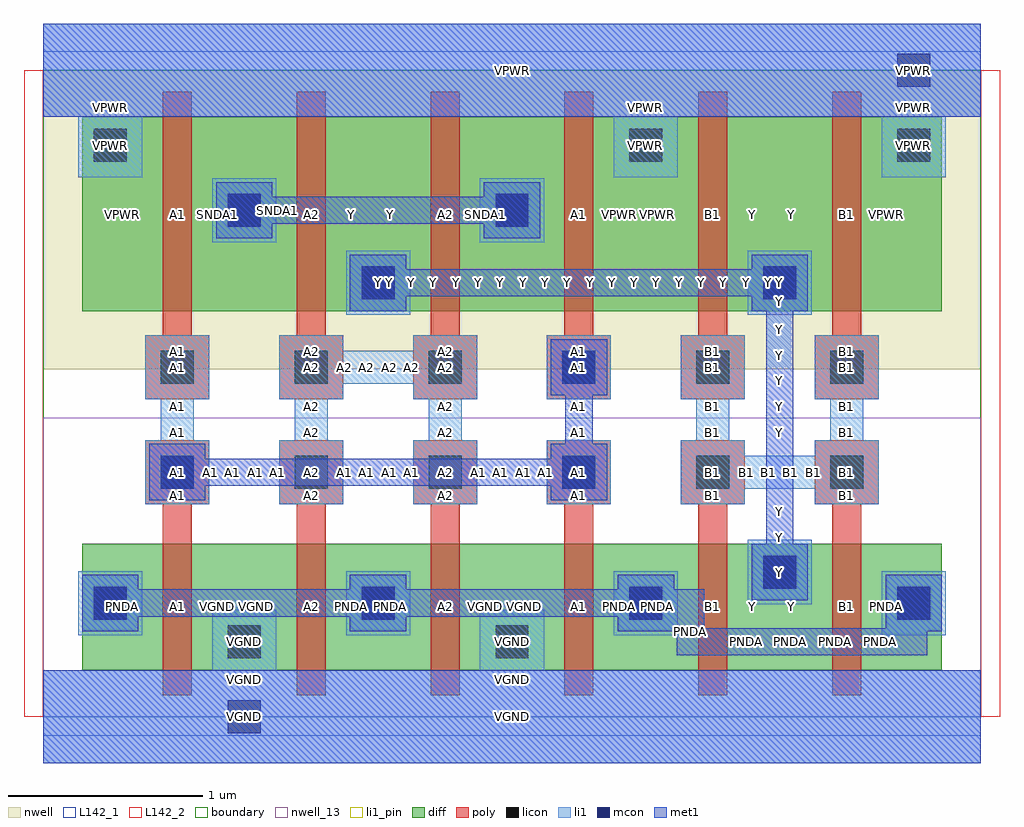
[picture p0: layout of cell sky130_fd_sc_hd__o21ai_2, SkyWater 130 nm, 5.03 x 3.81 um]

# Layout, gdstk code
import gdstk
lib = gdstk.Library(unit=1e-6, precision=1e-09)
def R(c, l, rs):  # rectangles x0, y0, x1, y1
    for r in rs: c.add(gdstk.rectangle(r[:2], r[2:], *l))
def A(c, l, x, y, w, h, nx, ny, dx, dy):  # array of equal rectangles
    R(c, l, [(x+i*dx, y+j*dy, x+i*dx+w, y+j*dy+h) for i in range(nx) for j in range(ny)])
def P(c, l, *ps):  # polygons
    for p in ps: c.add(gdstk.Polygon(p, *l))
nwell_13 = (64, 13)
nwell = (64, 20)
diff = (65, 20)
poly = (66, 20)
licon = (66, 44)
li1_pin = (67, 16)
li1 = (67, 20)
mcon = (67, 44)
met1 = (68, 20)
L142_1 = (142, 1)
L142_2 = (142, 2)
boundary = (235, 4)

sky130_fd_sc_hd__o21ai_2 = lib.new_cell('sky130_fd_sc_hd__o21ai_2')
R(sky130_fd_sc_hd__o21ai_2, nwell_13, [(0,0,4.83,1.54)])
R(sky130_fd_sc_hd__o21ai_2, nwell, [(0,1.79,4.83,3.33)])
A(sky130_fd_sc_hd__o21ai_2, diff, 0.615, 0.24, 0.69, 0.65, 5, 1, 0.69, 0)
A(sky130_fd_sc_hd__o21ai_2, diff, 0.615, 2.09, 0.69, 1, 5, 1, 0.69, 0)
R(sky130_fd_sc_hd__o21ai_2, diff, [(0.2,0.24,4.63,0.89), (0.2,0.24,0.615,0.89), (4.065,0.24,4.63,0.89), (0.2,2.09,4.63,3.09), (0.2,2.09,0.615,3.09), (4.065,2.09,4.63,3.09)])
P(sky130_fd_sc_hd__o21ai_2, poly, [(1.305,0.11),(1.305,1.095),(1.215,1.095),(1.215,1.425),(1.545,1.425),(1.545,1.095),(1.455,1.095),(1.455,0.11)],
  [(1.995,0.11),(1.995,1.095),(1.905,1.095),(1.905,1.425),(2.235,1.425),(2.235,1.095),(2.145,1.095),(2.145,0.11)],
  [(1.215,1.635),(1.215,1.965),(1.305,1.965),(1.305,3.22),(1.455,3.22),(1.455,1.965),(1.545,1.965),(1.545,1.635)],
  [(1.905,1.635),(1.905,1.965),(1.995,1.965),(1.995,3.22),(2.145,3.22),(2.145,1.965),(2.235,1.965),(2.235,1.635)],
  [(0.615,0.11),(0.615,1.095),(0.525,1.095),(0.525,1.425),(0.855,1.425),(0.855,1.095),(0.765,1.095),(0.765,0.11)],
  [(2.685,0.11),(2.685,1.095),(2.595,1.095),(2.595,1.425),(2.925,1.425),(2.925,1.095),(2.835,1.095),(2.835,0.11)],
  [(0.525,1.635),(0.525,1.965),(0.615,1.965),(0.615,3.22),(0.765,3.22),(0.765,1.965),(0.855,1.965),(0.855,1.635)],
  [(2.595,1.635),(2.595,1.965),(2.685,1.965),(2.685,3.22),(2.835,3.22),(2.835,1.965),(2.925,1.965),(2.925,1.635)],
  [(3.375,0.11),(3.375,1.095),(3.285,1.095),(3.285,1.425),(3.615,1.425),(3.615,1.095),(3.525,1.095),(3.525,0.11)],
  [(4.065,0.11),(4.065,1.095),(3.975,1.095),(3.975,1.425),(4.305,1.425),(4.305,1.095),(4.215,1.095),(4.215,0.11)],
  [(3.285,1.635),(3.285,1.965),(3.375,1.965),(3.375,3.22),(3.525,3.22),(3.525,1.965),(3.615,1.965),(3.615,1.635)],
  [(3.975,1.635),(3.975,1.965),(4.065,1.965),(4.065,3.22),(4.215,3.22),(4.215,1.965),(4.305,1.965),(4.305,1.635)])
A(sky130_fd_sc_hd__o21ai_2, licon, 0.26, 0.5, 0.17, 0.17, 4, 1, 1.38, 0)
A(sky130_fd_sc_hd__o21ai_2, licon, 0.605, 1.175, 0.17, 0.17, 6, 2, 0.69, 0.54)
R(sky130_fd_sc_hd__o21ai_2, licon, [(0.95,0.3,1.12,0.47), (2.33,0.3,2.5,0.47), (3.71,0.66,3.88,0.83), (1.64,2.15,1.81,2.32), (3.71,2.15,3.88,2.32), (0.95,2.525,1.12,2.695), (2.33,2.525,2.5,2.695), (0.26,2.86,0.43,3.03), (3.02,2.86,3.19,3.03), (4.4,2.86,4.57,3.03)])
R(sky130_fd_sc_hd__o21ai_2, li1_pin, [(0,-0.24,4.83,0.24), (1.56,2.07,1.89,2.4), (0,3.09,4.83,3.57)])
P(sky130_fd_sc_hd__o21ai_2, li1_pin, [(1.215,1.095),(1.215,1.425),(1.295,1.425),(1.295,1.635),(1.215,1.635),(1.215,1.965),(1.545,1.965),(1.545,1.885),(1.905,1.885),(1.905,1.965),(2.235,1.965),(2.235,1.635),(2.155,1.635),(2.155,1.425),(2.235,1.425),(2.235,1.095),(1.905,1.095),(1.905,1.425),(1.985,1.425),(1.985,1.635),(1.905,1.635),(1.905,1.715),(1.545,1.715),(1.545,1.635),(1.465,1.635),(1.465,1.425),(1.545,1.425),(1.545,1.095)],
  [(3.285,1.095),(3.285,1.425),(3.365,1.425),(3.365,1.635),(3.285,1.635),(3.285,1.965),(3.615,1.965),(3.615,1.635),(3.535,1.635),(3.535,1.425),(3.615,1.425),(3.615,1.345),(3.975,1.345),(3.975,1.425),(4.055,1.425),(4.055,1.635),(3.975,1.635),(3.975,1.965),(4.305,1.965),(4.305,1.635),(4.225,1.635),(4.225,1.425),(4.305,1.425),(4.305,1.095),(3.975,1.095),(3.975,1.175),(3.615,1.175),(3.615,1.095)],
  [(0.525,1.095),(0.525,1.425),(0.605,1.425),(0.605,1.635),(0.525,1.635),(0.525,1.965),(0.855,1.965),(0.855,1.635),(0.775,1.635),(0.775,1.425),(0.855,1.425),(0.855,1.095)])
A(sky130_fd_sc_hd__o21ai_2, li1, 0.18, 0.42, 0.33, 0.33, 4, 1, 1.38, 0)
R(sky130_fd_sc_hd__o21ai_2, li1, [(3.63,0.58,3.96,0.91), (2.595,1.095,2.925,1.425), (2.595,1.635,2.925,1.965), (1.56,2.07,1.89,2.4), (3.63,2.07,3.96,2.4), (0.87,2.445,1.2,2.775), (2.25,2.445,2.58,2.775)])
P(sky130_fd_sc_hd__o21ai_2, li1, [(1.215,1.095),(1.215,1.425),(1.295,1.425),(1.295,1.635),(1.215,1.635),(1.215,1.965),(1.545,1.965),(1.545,1.885),(1.905,1.885),(1.905,1.965),(2.235,1.965),(2.235,1.635),(2.155,1.635),(2.155,1.425),(2.235,1.425),(2.235,1.095),(1.905,1.095),(1.905,1.425),(1.985,1.425),(1.985,1.635),(1.905,1.635),(1.905,1.715),(1.545,1.715),(1.545,1.635),(1.465,1.635),(1.465,1.425),(1.545,1.425),(1.545,1.095)],
  [(0.18,2.78),(0.18,3.09),(0,3.09),(0,3.57),(4.83,3.57),(4.83,3.09),(4.65,3.09),(4.65,2.78),(4.32,2.78),(4.32,3.09),(3.27,3.09),(3.27,2.78),(2.94,2.78),(2.94,3.09),(0.51,3.09),(0.51,2.78)],
  [(0.525,1.095),(0.525,1.425),(0.605,1.425),(0.605,1.635),(0.525,1.635),(0.525,1.965),(0.855,1.965),(0.855,1.635),(0.775,1.635),(0.775,1.425),(0.855,1.425),(0.855,1.095)],
  [(0,-0.24),(0,0.24),(0.87,0.24),(0.87,0.55),(1.2,0.55),(1.2,0.24),(2.25,0.24),(2.25,0.55),(2.58,0.55),(2.58,0.24),(4.83,0.24),(4.83,-0.24)],
  [(3.285,1.095),(3.285,1.425),(3.365,1.425),(3.365,1.635),(3.285,1.635),(3.285,1.965),(3.615,1.965),(3.615,1.635),(3.535,1.635),(3.535,1.425),(3.615,1.425),(3.615,1.345),(3.975,1.345),(3.975,1.425),(4.055,1.425),(4.055,1.635),(3.975,1.635),(3.975,1.965),(4.305,1.965),(4.305,1.635),(4.225,1.635),(4.225,1.425),(4.305,1.425),(4.305,1.095),(3.975,1.095),(3.975,1.175),(3.615,1.175),(3.615,1.095)])
A(sky130_fd_sc_hd__o21ai_2, mcon, 0.26, 0.5, 0.17, 0.17, 4, 1, 1.38, 0)
R(sky130_fd_sc_hd__o21ai_2, mcon, [(0.95,-0.085,1.12,0.085), (3.71,0.66,3.88,0.83), (0.605,1.175,0.775,1.345), (2.675,1.175,2.845,1.345), (2.675,1.715,2.845,1.885), (1.64,2.15,1.81,2.32), (3.71,2.15,3.88,2.32), (0.95,2.525,1.12,2.695), (2.33,2.525,2.5,2.695), (4.4,3.245,4.57,3.415)])
R(sky130_fd_sc_hd__o21ai_2, met1, [(0,-0.24,4.83,0.24), (3.25,0.44,3.265,0.515), (0,3.09,4.83,3.57)])
P(sky130_fd_sc_hd__o21ai_2, met1, [(3.65,0.6),(3.65,0.89),(3.725,0.89),(3.725,2.09),(3.65,2.09),(3.65,2.165),(1.87,2.165),(1.87,2.09),(1.58,2.09),(1.58,2.38),(1.87,2.38),(1.87,2.305),(3.65,2.305),(3.65,2.38),(3.94,2.38),(3.94,2.09),(3.865,2.09),(3.865,0.89),(3.94,0.89),(3.94,0.6)],
  [(0.545,1.115),(0.545,1.405),(0.835,1.405),(0.835,1.33),(2.615,1.33),(2.615,1.405),(2.69,1.405),(2.69,1.655),(2.615,1.655),(2.615,1.945),(2.905,1.945),(2.905,1.655),(2.83,1.655),(2.83,1.405),(2.905,1.405),(2.905,1.115),(2.615,1.115),(2.615,1.19),(0.835,1.19),(0.835,1.115)],
  [(0.89,2.465),(0.89,2.755),(1.18,2.755),(1.18,2.68),(2.27,2.68),(2.27,2.755),(2.56,2.755),(2.56,2.465),(2.27,2.465),(2.27,2.54),(1.18,2.54),(1.18,2.465)],
  [(3.265,0.315),(3.265,0.515),(3.25,0.515),(3.25,0.44),(2.96,0.44),(2.96,0.515),(1.87,0.515),(1.87,0.44),(1.58,0.44),(1.58,0.515),(0.49,0.515),(0.49,0.44),(0.2,0.44),(0.2,0.73),(0.49,0.73),(0.49,0.655),(1.58,0.655),(1.58,0.73),(1.87,0.73),(1.87,0.655),(2.96,0.655),(2.96,0.73),(3.25,0.73),(3.25,0.655),(3.405,0.655),(3.405,0.455),(4.34,0.455),(4.34,0.73),(4.63,0.73),(4.63,0.44),(4.555,0.44),(4.555,0.315)])
R(sky130_fd_sc_hd__o21ai_2, L142_1, [(0,-0.1,4.83,0), (0,3.33,4.83,3.43)])
R(sky130_fd_sc_hd__o21ai_2, L142_2, [(-0.1,0,0,3.33), (4.83,0,4.93,3.33)])
R(sky130_fd_sc_hd__o21ai_2, boundary, [(0,0,4.83,3.33)])
sky130_fd_sc_hd__o21ai_2.add(gdstk.Label('VGND', (1.097,0.565), layer=65, texttype=20))
sky130_fd_sc_hd__o21ai_2.add(gdstk.Label('PNDA', (1.587,0.565), layer=65, texttype=20))
sky130_fd_sc_hd__o21ai_2.add(gdstk.Label('PNDA', (0.407,0.565), layer=65, texttype=20))
sky130_fd_sc_hd__o21ai_2.add(gdstk.Label('VGND', (0.897,0.565), layer=65, texttype=20))
sky130_fd_sc_hd__o21ai_2.add(gdstk.Label('PNDA', (1.787,0.565), layer=65, texttype=20))
sky130_fd_sc_hd__o21ai_2.add(gdstk.Label('VGND', (2.277,0.565), layer=65, texttype=20))
sky130_fd_sc_hd__o21ai_2.add(gdstk.Label('Y', (3.857,0.565), layer=65, texttype=20))
sky130_fd_sc_hd__o21ai_2.add(gdstk.Label('PNDA', (4.347,0.565), layer=65, texttype=20))
sky130_fd_sc_hd__o21ai_2.add(gdstk.Label('PNDA', (3.167,0.565), layer=65, texttype=20))
sky130_fd_sc_hd__o21ai_2.add(gdstk.Label('Y', (3.657,0.565), layer=65, texttype=20))
sky130_fd_sc_hd__o21ai_2.add(gdstk.Label('VGND', (2.477,0.565), layer=65, texttype=20))
sky130_fd_sc_hd__o21ai_2.add(gdstk.Label('PNDA', (2.967,0.565), layer=65, texttype=20))
sky130_fd_sc_hd__o21ai_2.add(gdstk.Label('VGND', (1.097,0.565), layer=65, texttype=20))
sky130_fd_sc_hd__o21ai_2.add(gdstk.Label('PNDA', (1.587,0.565), layer=65, texttype=20))
sky130_fd_sc_hd__o21ai_2.add(gdstk.Label('PNDA', (0.407,0.565), layer=65, texttype=20))
sky130_fd_sc_hd__o21ai_2.add(gdstk.Label('VGND', (0.897,0.565), layer=65, texttype=20))
sky130_fd_sc_hd__o21ai_2.add(gdstk.Label('PNDA', (1.787,0.565), layer=65, texttype=20))
sky130_fd_sc_hd__o21ai_2.add(gdstk.Label('VGND', (2.277,0.565), layer=65, texttype=20))
sky130_fd_sc_hd__o21ai_2.add(gdstk.Label('Y', (3.857,0.565), layer=65, texttype=20))
sky130_fd_sc_hd__o21ai_2.add(gdstk.Label('PNDA', (4.347,0.565), layer=65, texttype=20))
sky130_fd_sc_hd__o21ai_2.add(gdstk.Label('PNDA', (3.167,0.565), layer=65, texttype=20))
sky130_fd_sc_hd__o21ai_2.add(gdstk.Label('Y', (3.657,0.565), layer=65, texttype=20))
sky130_fd_sc_hd__o21ai_2.add(gdstk.Label('VGND', (2.477,0.565), layer=65, texttype=20))
sky130_fd_sc_hd__o21ai_2.add(gdstk.Label('PNDA', (2.967,0.565), layer=65, texttype=20))
sky130_fd_sc_hd__o21ai_2.add(gdstk.Label('VGND', (1.035,0.385), layer=65, texttype=20))
sky130_fd_sc_hd__o21ai_2.add(gdstk.Label('VGND', (2.415,0.385), layer=65, texttype=20))
sky130_fd_sc_hd__o21ai_2.add(gdstk.Label('PNDA', (1.725,0.585), layer=65, texttype=20))
sky130_fd_sc_hd__o21ai_2.add(gdstk.Label('PNDA', (3.105,0.585), layer=65, texttype=20))
sky130_fd_sc_hd__o21ai_2.add(gdstk.Label('PNDA', (0.345,0.585), layer=65, texttype=20))
sky130_fd_sc_hd__o21ai_2.add(gdstk.Label('PNDA', (4.485,0.585), layer=65, texttype=20))
sky130_fd_sc_hd__o21ai_2.add(gdstk.Label('Y', (3.795,0.745), layer=65, texttype=20))
sky130_fd_sc_hd__o21ai_2.add(gdstk.Label('Y', (1.787,2.59), layer=65, texttype=20))
sky130_fd_sc_hd__o21ai_2.add(gdstk.Label('SNDA1', (2.277,2.59), layer=65, texttype=20))
sky130_fd_sc_hd__o21ai_2.add(gdstk.Label('Y', (3.857,2.59), layer=65, texttype=20))
sky130_fd_sc_hd__o21ai_2.add(gdstk.Label('VPWR', (4.347,2.59), layer=65, texttype=20))
sky130_fd_sc_hd__o21ai_2.add(gdstk.Label('VPWR', (0.407,2.59), layer=65, texttype=20))
sky130_fd_sc_hd__o21ai_2.add(gdstk.Label('SNDA1', (0.897,2.59), layer=65, texttype=20))
sky130_fd_sc_hd__o21ai_2.add(gdstk.Label('SNDA1', (1.097,2.59), layer=65, texttype=20))
sky130_fd_sc_hd__o21ai_2.add(gdstk.Label('Y', (1.587,2.59), layer=65, texttype=20))
sky130_fd_sc_hd__o21ai_2.add(gdstk.Label('VPWR', (3.167,2.59), layer=65, texttype=20))
sky130_fd_sc_hd__o21ai_2.add(gdstk.Label('Y', (3.657,2.59), layer=65, texttype=20))
sky130_fd_sc_hd__o21ai_2.add(gdstk.Label('SNDA1', (2.477,2.59), layer=65, texttype=20))
sky130_fd_sc_hd__o21ai_2.add(gdstk.Label('VPWR', (2.967,2.59), layer=65, texttype=20))
sky130_fd_sc_hd__o21ai_2.add(gdstk.Label('Y', (1.787,2.59), layer=65, texttype=20))
sky130_fd_sc_hd__o21ai_2.add(gdstk.Label('SNDA1', (2.277,2.59), layer=65, texttype=20))
sky130_fd_sc_hd__o21ai_2.add(gdstk.Label('Y', (3.857,2.59), layer=65, texttype=20))
sky130_fd_sc_hd__o21ai_2.add(gdstk.Label('VPWR', (4.347,2.59), layer=65, texttype=20))
sky130_fd_sc_hd__o21ai_2.add(gdstk.Label('VPWR', (0.407,2.59), layer=65, texttype=20))
sky130_fd_sc_hd__o21ai_2.add(gdstk.Label('SNDA1', (0.897,2.59), layer=65, texttype=20))
sky130_fd_sc_hd__o21ai_2.add(gdstk.Label('SNDA1', (1.097,2.59), layer=65, texttype=20))
sky130_fd_sc_hd__o21ai_2.add(gdstk.Label('Y', (1.587,2.59), layer=65, texttype=20))
sky130_fd_sc_hd__o21ai_2.add(gdstk.Label('VPWR', (3.167,2.59), layer=65, texttype=20))
sky130_fd_sc_hd__o21ai_2.add(gdstk.Label('Y', (3.657,2.59), layer=65, texttype=20))
sky130_fd_sc_hd__o21ai_2.add(gdstk.Label('SNDA1', (2.477,2.59), layer=65, texttype=20))
sky130_fd_sc_hd__o21ai_2.add(gdstk.Label('VPWR', (2.967,2.59), layer=65, texttype=20))
sky130_fd_sc_hd__o21ai_2.add(gdstk.Label('Y', (3.795,2.235), layer=65, texttype=20))
sky130_fd_sc_hd__o21ai_2.add(gdstk.Label('Y', (1.725,2.235), layer=65, texttype=20))
sky130_fd_sc_hd__o21ai_2.add(gdstk.Label('SNDA1', (2.415,2.61), layer=65, texttype=20))
sky130_fd_sc_hd__o21ai_2.add(gdstk.Label('SNDA1', (1.035,2.61), layer=65, texttype=20))
sky130_fd_sc_hd__o21ai_2.add(gdstk.Label('VPWR', (4.485,2.945), layer=65, texttype=20))
sky130_fd_sc_hd__o21ai_2.add(gdstk.Label('VPWR', (3.105,2.945), layer=65, texttype=20))
sky130_fd_sc_hd__o21ai_2.add(gdstk.Label('VPWR', (0.345,2.945), layer=65, texttype=20))
sky130_fd_sc_hd__o21ai_2.add(gdstk.Label('A2', (2.07,2.59), layer=66, texttype=20))
sky130_fd_sc_hd__o21ai_2.add(gdstk.Label('B1', (4.14,2.59), layer=66, texttype=20))
sky130_fd_sc_hd__o21ai_2.add(gdstk.Label('A2', (1.38,0.565), layer=66, texttype=20))
sky130_fd_sc_hd__o21ai_2.add(gdstk.Label('A1', (0.69,2.59), layer=66, texttype=20))
sky130_fd_sc_hd__o21ai_2.add(gdstk.Label('A1', (0.69,0.565), layer=66, texttype=20))
sky130_fd_sc_hd__o21ai_2.add(gdstk.Label('A2', (1.38,2.59), layer=66, texttype=20))
sky130_fd_sc_hd__o21ai_2.add(gdstk.Label('A2', (2.07,0.565), layer=66, texttype=20))
sky130_fd_sc_hd__o21ai_2.add(gdstk.Label('B1', (3.45,2.59), layer=66, texttype=20))
sky130_fd_sc_hd__o21ai_2.add(gdstk.Label('B1', (4.14,0.565), layer=66, texttype=20))
sky130_fd_sc_hd__o21ai_2.add(gdstk.Label('B1', (3.45,0.565), layer=66, texttype=20))
sky130_fd_sc_hd__o21ai_2.add(gdstk.Label('A1', (2.76,2.59), layer=66, texttype=20))
sky130_fd_sc_hd__o21ai_2.add(gdstk.Label('A1', (2.76,0.565), layer=66, texttype=20))
sky130_fd_sc_hd__o21ai_2.add(gdstk.Label('A2', (2.07,2.59), layer=66, texttype=20))
sky130_fd_sc_hd__o21ai_2.add(gdstk.Label('B1', (4.14,2.59), layer=66, texttype=20))
sky130_fd_sc_hd__o21ai_2.add(gdstk.Label('A2', (1.38,0.565), layer=66, texttype=20))
sky130_fd_sc_hd__o21ai_2.add(gdstk.Label('A1', (0.69,2.59), layer=66, texttype=20))
sky130_fd_sc_hd__o21ai_2.add(gdstk.Label('A1', (0.69,0.565), layer=66, texttype=20))
sky130_fd_sc_hd__o21ai_2.add(gdstk.Label('A2', (1.38,2.59), layer=66, texttype=20))
sky130_fd_sc_hd__o21ai_2.add(gdstk.Label('A2', (2.07,0.565), layer=66, texttype=20))
sky130_fd_sc_hd__o21ai_2.add(gdstk.Label('B1', (3.45,2.59), layer=66, texttype=20))
sky130_fd_sc_hd__o21ai_2.add(gdstk.Label('B1', (4.14,0.565), layer=66, texttype=20))
sky130_fd_sc_hd__o21ai_2.add(gdstk.Label('B1', (3.45,0.565), layer=66, texttype=20))
sky130_fd_sc_hd__o21ai_2.add(gdstk.Label('A1', (2.76,2.59), layer=66, texttype=20))
sky130_fd_sc_hd__o21ai_2.add(gdstk.Label('A1', (2.76,0.565), layer=66, texttype=20))
sky130_fd_sc_hd__o21ai_2.add(gdstk.Label('A2', (2.07,1.88), layer=66, texttype=20))
sky130_fd_sc_hd__o21ai_2.add(gdstk.Label('A2', (2.07,1.14), layer=66, texttype=20))
sky130_fd_sc_hd__o21ai_2.add(gdstk.Label('A2', (1.38,1.88), layer=66, texttype=20))
sky130_fd_sc_hd__o21ai_2.add(gdstk.Label('A2', (1.38,1.14), layer=66, texttype=20))
sky130_fd_sc_hd__o21ai_2.add(gdstk.Label('B1', (4.14,1.88), layer=66, texttype=20))
sky130_fd_sc_hd__o21ai_2.add(gdstk.Label('B1', (4.14,1.14), layer=66, texttype=20))
sky130_fd_sc_hd__o21ai_2.add(gdstk.Label('B1', (3.45,1.14), layer=66, texttype=20))
sky130_fd_sc_hd__o21ai_2.add(gdstk.Label('B1', (3.45,1.88), layer=66, texttype=20))
sky130_fd_sc_hd__o21ai_2.add(gdstk.Label('A1', (0.69,1.88), layer=66, texttype=20))
sky130_fd_sc_hd__o21ai_2.add(gdstk.Label('A1', (0.69,1.14), layer=66, texttype=20))
sky130_fd_sc_hd__o21ai_2.add(gdstk.Label('A1', (2.76,1.14), layer=66, texttype=20))
sky130_fd_sc_hd__o21ai_2.add(gdstk.Label('A1', (2.76,1.88), layer=66, texttype=20))
sky130_fd_sc_hd__o21ai_2.add(gdstk.Label('A2', (2.07,1.8), layer=66, texttype=20))
sky130_fd_sc_hd__o21ai_2.add(gdstk.Label('A2', (2.07,1.26), layer=66, texttype=20))
sky130_fd_sc_hd__o21ai_2.add(gdstk.Label('A2', (1.38,1.8), layer=66, texttype=20))
sky130_fd_sc_hd__o21ai_2.add(gdstk.Label('A2', (1.38,1.26), layer=66, texttype=20))
sky130_fd_sc_hd__o21ai_2.add(gdstk.Label('B1', (4.14,1.8), layer=66, texttype=20))
sky130_fd_sc_hd__o21ai_2.add(gdstk.Label('B1', (4.14,1.26), layer=66, texttype=20))
sky130_fd_sc_hd__o21ai_2.add(gdstk.Label('B1', (3.45,1.26), layer=66, texttype=20))
sky130_fd_sc_hd__o21ai_2.add(gdstk.Label('B1', (3.45,1.8), layer=66, texttype=20))
sky130_fd_sc_hd__o21ai_2.add(gdstk.Label('A1', (0.69,1.8), layer=66, texttype=20))
sky130_fd_sc_hd__o21ai_2.add(gdstk.Label('A1', (0.69,1.26), layer=66, texttype=20))
sky130_fd_sc_hd__o21ai_2.add(gdstk.Label('A1', (2.76,1.26), layer=66, texttype=20))
sky130_fd_sc_hd__o21ai_2.add(gdstk.Label('A1', (2.76,1.8), layer=66, texttype=20))
sky130_fd_sc_hd__o21ai_2.add(gdstk.Label('Y', (3.795,2.235), layer=66, texttype=44))
sky130_fd_sc_hd__o21ai_2.add(gdstk.Label('Y', (1.725,2.235), layer=66, texttype=44))
sky130_fd_sc_hd__o21ai_2.add(gdstk.Label('SNDA1', (2.415,2.61), layer=66, texttype=44))
sky130_fd_sc_hd__o21ai_2.add(gdstk.Label('SNDA1', (1.035,2.61), layer=66, texttype=44))
sky130_fd_sc_hd__o21ai_2.add(gdstk.Label('VPWR', (4.485,2.945), layer=66, texttype=44))
sky130_fd_sc_hd__o21ai_2.add(gdstk.Label('VPWR', (3.105,2.945), layer=66, texttype=44))
sky130_fd_sc_hd__o21ai_2.add(gdstk.Label('VPWR', (0.345,2.945), layer=66, texttype=44))
sky130_fd_sc_hd__o21ai_2.add(gdstk.Label('VGND', (1.035,0.385), layer=66, texttype=44))
sky130_fd_sc_hd__o21ai_2.add(gdstk.Label('VGND', (2.415,0.385), layer=66, texttype=44))
sky130_fd_sc_hd__o21ai_2.add(gdstk.Label('PNDA', (1.725,0.585), layer=66, texttype=44))
sky130_fd_sc_hd__o21ai_2.add(gdstk.Label('PNDA', (3.105,0.585), layer=66, texttype=44))
sky130_fd_sc_hd__o21ai_2.add(gdstk.Label('PNDA', (0.345,0.585), layer=66, texttype=44))
sky130_fd_sc_hd__o21ai_2.add(gdstk.Label('PNDA', (4.485,0.585), layer=66, texttype=44))
sky130_fd_sc_hd__o21ai_2.add(gdstk.Label('Y', (3.795,0.745), layer=66, texttype=44))
sky130_fd_sc_hd__o21ai_2.add(gdstk.Label('A2', (2.07,1.8), layer=66, texttype=44))
sky130_fd_sc_hd__o21ai_2.add(gdstk.Label('A2', (2.07,1.26), layer=66, texttype=44))
sky130_fd_sc_hd__o21ai_2.add(gdstk.Label('A2', (1.38,1.8), layer=66, texttype=44))
sky130_fd_sc_hd__o21ai_2.add(gdstk.Label('A2', (1.38,1.26), layer=66, texttype=44))
sky130_fd_sc_hd__o21ai_2.add(gdstk.Label('B1', (4.14,1.8), layer=66, texttype=44))
sky130_fd_sc_hd__o21ai_2.add(gdstk.Label('B1', (4.14,1.26), layer=66, texttype=44))
sky130_fd_sc_hd__o21ai_2.add(gdstk.Label('B1', (3.45,1.26), layer=66, texttype=44))
sky130_fd_sc_hd__o21ai_2.add(gdstk.Label('B1', (3.45,1.8), layer=66, texttype=44))
sky130_fd_sc_hd__o21ai_2.add(gdstk.Label('A1', (0.69,1.8), layer=66, texttype=44))
sky130_fd_sc_hd__o21ai_2.add(gdstk.Label('A1', (0.69,1.26), layer=66, texttype=44))
sky130_fd_sc_hd__o21ai_2.add(gdstk.Label('A1', (2.76,1.26), layer=66, texttype=44))
sky130_fd_sc_hd__o21ai_2.add(gdstk.Label('A1', (2.76,1.8), layer=66, texttype=44))
sky130_fd_sc_hd__o21ai_2.add(gdstk.Label('VPWR', (2.415,3.33), layer=67, texttype=20))
sky130_fd_sc_hd__o21ai_2.add(gdstk.Label('VGND', (2.415,0), layer=67, texttype=20))
sky130_fd_sc_hd__o21ai_2.add(gdstk.Label('VPWR', (2.415,3.33), layer=67, texttype=20))
sky130_fd_sc_hd__o21ai_2.add(gdstk.Label('VGND', (2.415,0), layer=67, texttype=20))
sky130_fd_sc_hd__o21ai_2.add(gdstk.Label('VGND', (1.035,0.192), layer=67, texttype=20))
sky130_fd_sc_hd__o21ai_2.add(gdstk.Label('VGND', (2.415,0.192), layer=67, texttype=20))
sky130_fd_sc_hd__o21ai_2.add(gdstk.Label('VPWR', (4.485,3.137), layer=67, texttype=20))
sky130_fd_sc_hd__o21ai_2.add(gdstk.Label('VPWR', (3.105,3.137), layer=67, texttype=20))
sky130_fd_sc_hd__o21ai_2.add(gdstk.Label('VPWR', (0.345,3.137), layer=67, texttype=20))
sky130_fd_sc_hd__o21ai_2.add(gdstk.Label('A2', (2.07,1.732), layer=67, texttype=20))
sky130_fd_sc_hd__o21ai_2.add(gdstk.Label('A2', (2.012,1.8), layer=67, texttype=20))
sky130_fd_sc_hd__o21ai_2.add(gdstk.Label('A2', (2.07,1.597), layer=67, texttype=20))
sky130_fd_sc_hd__o21ai_2.add(gdstk.Label('A2', (2.07,1.462), layer=67, texttype=20))
sky130_fd_sc_hd__o21ai_2.add(gdstk.Label('A2', (2.07,1.327), layer=67, texttype=20))
sky130_fd_sc_hd__o21ai_2.add(gdstk.Label('A2', (1.897,1.8), layer=67, texttype=20))
sky130_fd_sc_hd__o21ai_2.add(gdstk.Label('A2', (1.782,1.8), layer=67, texttype=20))
sky130_fd_sc_hd__o21ai_2.add(gdstk.Label('A2', (1.667,1.8), layer=67, texttype=20))
sky130_fd_sc_hd__o21ai_2.add(gdstk.Label('A2', (1.552,1.8), layer=67, texttype=20))
sky130_fd_sc_hd__o21ai_2.add(gdstk.Label('A2', (1.437,1.8), layer=67, texttype=20))
sky130_fd_sc_hd__o21ai_2.add(gdstk.Label('A2', (1.38,1.732), layer=67, texttype=20))
sky130_fd_sc_hd__o21ai_2.add(gdstk.Label('A2', (1.38,1.597), layer=67, texttype=20))
sky130_fd_sc_hd__o21ai_2.add(gdstk.Label('A2', (1.38,1.462), layer=67, texttype=20))
sky130_fd_sc_hd__o21ai_2.add(gdstk.Label('A2', (1.38,1.327), layer=67, texttype=20))
sky130_fd_sc_hd__o21ai_2.add(gdstk.Label('B1', (4.14,1.732), layer=67, texttype=20))
sky130_fd_sc_hd__o21ai_2.add(gdstk.Label('B1', (4.14,1.597), layer=67, texttype=20))
sky130_fd_sc_hd__o21ai_2.add(gdstk.Label('B1', (4.14,1.462), layer=67, texttype=20))
sky130_fd_sc_hd__o21ai_2.add(gdstk.Label('B1', (4.14,1.327), layer=67, texttype=20))
sky130_fd_sc_hd__o21ai_2.add(gdstk.Label('B1', (4.082,1.26), layer=67, texttype=20))
sky130_fd_sc_hd__o21ai_2.add(gdstk.Label('B1', (3.967,1.26), layer=67, texttype=20))
sky130_fd_sc_hd__o21ai_2.add(gdstk.Label('B1', (3.852,1.26), layer=67, texttype=20))
sky130_fd_sc_hd__o21ai_2.add(gdstk.Label('B1', (3.737,1.26), layer=67, texttype=20))
sky130_fd_sc_hd__o21ai_2.add(gdstk.Label('B1', (3.622,1.26), layer=67, texttype=20))
sky130_fd_sc_hd__o21ai_2.add(gdstk.Label('B1', (3.507,1.26), layer=67, texttype=20))
sky130_fd_sc_hd__o21ai_2.add(gdstk.Label('B1', (3.45,1.327), layer=67, texttype=20))
sky130_fd_sc_hd__o21ai_2.add(gdstk.Label('B1', (3.45,1.462), layer=67, texttype=20))
sky130_fd_sc_hd__o21ai_2.add(gdstk.Label('B1', (3.45,1.597), layer=67, texttype=20))
sky130_fd_sc_hd__o21ai_2.add(gdstk.Label('B1', (3.45,1.732), layer=67, texttype=20))
sky130_fd_sc_hd__o21ai_2.add(gdstk.Label('A1', (0.69,1.732), layer=67, texttype=20))
sky130_fd_sc_hd__o21ai_2.add(gdstk.Label('A1', (0.69,1.597), layer=67, texttype=20))
sky130_fd_sc_hd__o21ai_2.add(gdstk.Label('A1', (0.69,1.462), layer=67, texttype=20))
sky130_fd_sc_hd__o21ai_2.add(gdstk.Label('A1', (0.69,1.327), layer=67, texttype=20))
sky130_fd_sc_hd__o21ai_2.add(gdstk.Label('VGND', (1.035,0.385), layer=67, texttype=20))
sky130_fd_sc_hd__o21ai_2.add(gdstk.Label('VGND', (1.035,0), layer=67, texttype=20))
sky130_fd_sc_hd__o21ai_2.add(gdstk.Label('VGND', (2.415,0.385), layer=67, texttype=20))
sky130_fd_sc_hd__o21ai_2.add(gdstk.Label('PNDA', (1.725,0.585), layer=67, texttype=20))
sky130_fd_sc_hd__o21ai_2.add(gdstk.Label('PNDA', (1.725,0.585), layer=67, texttype=20))
sky130_fd_sc_hd__o21ai_2.add(gdstk.Label('PNDA', (3.105,0.585), layer=67, texttype=20))
sky130_fd_sc_hd__o21ai_2.add(gdstk.Label('PNDA', (3.105,0.585), layer=67, texttype=20))
sky130_fd_sc_hd__o21ai_2.add(gdstk.Label('PNDA', (0.345,0.585), layer=67, texttype=20))
sky130_fd_sc_hd__o21ai_2.add(gdstk.Label('PNDA', (0.345,0.585), layer=67, texttype=20))
sky130_fd_sc_hd__o21ai_2.add(gdstk.Label('PNDA', (4.485,0.585), layer=67, texttype=20))
sky130_fd_sc_hd__o21ai_2.add(gdstk.Label('PNDA', (4.485,0.585), layer=67, texttype=20))
sky130_fd_sc_hd__o21ai_2.add(gdstk.Label('Y', (3.795,0.745), layer=67, texttype=20))
sky130_fd_sc_hd__o21ai_2.add(gdstk.Label('Y', (3.795,0.745), layer=67, texttype=20))
sky130_fd_sc_hd__o21ai_2.add(gdstk.Label('Y', (3.795,2.235), layer=67, texttype=20))
sky130_fd_sc_hd__o21ai_2.add(gdstk.Label('Y', (3.795,2.235), layer=67, texttype=20))
sky130_fd_sc_hd__o21ai_2.add(gdstk.Label('Y', (1.725,2.235), layer=67, texttype=20))
sky130_fd_sc_hd__o21ai_2.add(gdstk.Label('Y', (1.725,2.235), layer=67, texttype=20))
sky130_fd_sc_hd__o21ai_2.add(gdstk.Label('SNDA1', (2.415,2.61), layer=67, texttype=20))
sky130_fd_sc_hd__o21ai_2.add(gdstk.Label('SNDA1', (2.415,2.61), layer=67, texttype=20))
sky130_fd_sc_hd__o21ai_2.add(gdstk.Label('SNDA1', (1.035,2.61), layer=67, texttype=20))
sky130_fd_sc_hd__o21ai_2.add(gdstk.Label('SNDA1', (1.035,2.61), layer=67, texttype=20))
sky130_fd_sc_hd__o21ai_2.add(gdstk.Label('VPWR', (4.485,2.945), layer=67, texttype=20))
sky130_fd_sc_hd__o21ai_2.add(gdstk.Label('VPWR', (4.485,3.33), layer=67, texttype=20))
sky130_fd_sc_hd__o21ai_2.add(gdstk.Label('VPWR', (3.105,2.945), layer=67, texttype=20))
sky130_fd_sc_hd__o21ai_2.add(gdstk.Label('VPWR', (0.345,2.945), layer=67, texttype=20))
sky130_fd_sc_hd__o21ai_2.add(gdstk.Label('A2', (2.07,1.8), layer=67, texttype=20))
sky130_fd_sc_hd__o21ai_2.add(gdstk.Label('A2', (2.07,1.26), layer=67, texttype=20))
sky130_fd_sc_hd__o21ai_2.add(gdstk.Label('A2', (1.38,1.8), layer=67, texttype=20))
sky130_fd_sc_hd__o21ai_2.add(gdstk.Label('A2', (1.38,1.26), layer=67, texttype=20))
sky130_fd_sc_hd__o21ai_2.add(gdstk.Label('B1', (4.14,1.8), layer=67, texttype=20))
sky130_fd_sc_hd__o21ai_2.add(gdstk.Label('B1', (4.14,1.26), layer=67, texttype=20))
sky130_fd_sc_hd__o21ai_2.add(gdstk.Label('B1', (3.45,1.26), layer=67, texttype=20))
sky130_fd_sc_hd__o21ai_2.add(gdstk.Label('B1', (3.45,1.8), layer=67, texttype=20))
sky130_fd_sc_hd__o21ai_2.add(gdstk.Label('A1', (0.69,1.8), layer=67, texttype=20))
sky130_fd_sc_hd__o21ai_2.add(gdstk.Label('A1', (0.69,1.26), layer=67, texttype=20))
sky130_fd_sc_hd__o21ai_2.add(gdstk.Label('A1', (0.69,1.26), layer=67, texttype=20))
sky130_fd_sc_hd__o21ai_2.add(gdstk.Label('A1', (2.76,1.26), layer=67, texttype=20))
sky130_fd_sc_hd__o21ai_2.add(gdstk.Label('A1', (2.76,1.26), layer=67, texttype=20))
sky130_fd_sc_hd__o21ai_2.add(gdstk.Label('A1', (2.76,1.8), layer=67, texttype=20))
sky130_fd_sc_hd__o21ai_2.add(gdstk.Label('A1', (2.76,1.8), layer=67, texttype=20))
sky130_fd_sc_hd__o21ai_2.add(gdstk.Label('Y', (1.725,2.235), layer=67, texttype=5))
sky130_fd_sc_hd__o21ai_2.add(gdstk.Label('A2', (1.38,1.26), layer=67, texttype=5))
sky130_fd_sc_hd__o21ai_2.add(gdstk.Label('B1', (3.45,1.26), layer=67, texttype=5))
sky130_fd_sc_hd__o21ai_2.add(gdstk.Label('A1', (0.69,1.26), layer=67, texttype=5))
sky130_fd_sc_hd__o21ai_2.add(gdstk.Label('VGND', (2.415,0), layer=67, texttype=5))
sky130_fd_sc_hd__o21ai_2.add(gdstk.Label('VPWR', (2.415,3.33), layer=67, texttype=5))
sky130_fd_sc_hd__o21ai_2.add(gdstk.Label('VGND', (1.035,0), layer=67, texttype=44))
sky130_fd_sc_hd__o21ai_2.add(gdstk.Label('PNDA', (1.725,0.585), layer=67, texttype=44))
sky130_fd_sc_hd__o21ai_2.add(gdstk.Label('PNDA', (3.105,0.585), layer=67, texttype=44))
sky130_fd_sc_hd__o21ai_2.add(gdstk.Label('PNDA', (0.345,0.585), layer=67, texttype=44))
sky130_fd_sc_hd__o21ai_2.add(gdstk.Label('PNDA', (4.485,0.585), layer=67, texttype=44))
sky130_fd_sc_hd__o21ai_2.add(gdstk.Label('Y', (3.795,0.745), layer=67, texttype=44))
sky130_fd_sc_hd__o21ai_2.add(gdstk.Label('Y', (3.795,2.235), layer=67, texttype=44))
sky130_fd_sc_hd__o21ai_2.add(gdstk.Label('Y', (1.725,2.235), layer=67, texttype=44))
sky130_fd_sc_hd__o21ai_2.add(gdstk.Label('SNDA1', (2.415,2.61), layer=67, texttype=44))
sky130_fd_sc_hd__o21ai_2.add(gdstk.Label('SNDA1', (1.035,2.61), layer=67, texttype=44))
sky130_fd_sc_hd__o21ai_2.add(gdstk.Label('VPWR', (4.485,3.33), layer=67, texttype=44))
sky130_fd_sc_hd__o21ai_2.add(gdstk.Label('A1', (0.69,1.26), layer=67, texttype=44))
sky130_fd_sc_hd__o21ai_2.add(gdstk.Label('A1', (2.76,1.26), layer=67, texttype=44))
sky130_fd_sc_hd__o21ai_2.add(gdstk.Label('A1', (2.76,1.8), layer=67, texttype=44))
sky130_fd_sc_hd__o21ai_2.add(gdstk.Label('Y', (3.795,1.732), layer=68, texttype=20))
sky130_fd_sc_hd__o21ai_2.add(gdstk.Label('Y', (2.472,2.235), layer=68, texttype=20))
sky130_fd_sc_hd__o21ai_2.add(gdstk.Label('A1', (2.76,1.732), layer=68, texttype=20))
sky130_fd_sc_hd__o21ai_2.add(gdstk.Label('Y', (3.392,2.235), layer=68, texttype=20))
sky130_fd_sc_hd__o21ai_2.add(gdstk.Label('Y', (3.277,2.235), layer=68, texttype=20))
sky130_fd_sc_hd__o21ai_2.add(gdstk.Label('Y', (3.162,2.235), layer=68, texttype=20))
sky130_fd_sc_hd__o21ai_2.add(gdstk.Label('Y', (3.047,2.235), layer=68, texttype=20))
sky130_fd_sc_hd__o21ai_2.add(gdstk.Label('Y', (2.932,2.235), layer=68, texttype=20))
sky130_fd_sc_hd__o21ai_2.add(gdstk.Label('Y', (2.817,2.235), layer=68, texttype=20))
sky130_fd_sc_hd__o21ai_2.add(gdstk.Label('Y', (2.702,2.235), layer=68, texttype=20))
sky130_fd_sc_hd__o21ai_2.add(gdstk.Label('Y', (2.587,2.235), layer=68, texttype=20))
sky130_fd_sc_hd__o21ai_2.add(gdstk.Label('Y', (3.795,1.862), layer=68, texttype=20))
sky130_fd_sc_hd__o21ai_2.add(gdstk.Label('Y', (3.795,1.997), layer=68, texttype=20))
sky130_fd_sc_hd__o21ai_2.add(gdstk.Label('Y', (3.795,2.137), layer=68, texttype=20))
sky130_fd_sc_hd__o21ai_2.add(gdstk.Label('Y', (3.795,2.22), layer=68, texttype=20))
sky130_fd_sc_hd__o21ai_2.add(gdstk.Label('Y', (3.737,2.235), layer=68, texttype=20))
sky130_fd_sc_hd__o21ai_2.add(gdstk.Label('Y', (3.622,2.235), layer=68, texttype=20))
sky130_fd_sc_hd__o21ai_2.add(gdstk.Label('Y', (3.507,2.235), layer=68, texttype=20))
sky130_fd_sc_hd__o21ai_2.add(gdstk.Label('Y', (3.795,2.235), layer=68, texttype=20))
sky130_fd_sc_hd__o21ai_2.add(gdstk.Label('VPWR', (4.485,3.33), layer=68, texttype=20))
sky130_fd_sc_hd__o21ai_2.add(gdstk.Label('A1', (2.76,1.8), layer=68, texttype=20))
sky130_fd_sc_hd__o21ai_2.add(gdstk.Label('SNDA1', (2.357,2.61), layer=68, texttype=20))
sky130_fd_sc_hd__o21ai_2.add(gdstk.Label('Y', (2.242,2.235), layer=68, texttype=20))
sky130_fd_sc_hd__o21ai_2.add(gdstk.Label('SNDA1', (2.242,2.61), layer=68, texttype=20))
sky130_fd_sc_hd__o21ai_2.add(gdstk.Label('SNDA1', (2.127,2.61), layer=68, texttype=20))
sky130_fd_sc_hd__o21ai_2.add(gdstk.Label('SNDA1', (2.012,2.61), layer=68, texttype=20))
sky130_fd_sc_hd__o21ai_2.add(gdstk.Label('SNDA1', (1.897,2.61), layer=68, texttype=20))
sky130_fd_sc_hd__o21ai_2.add(gdstk.Label('SNDA1', (1.782,2.61), layer=68, texttype=20))
sky130_fd_sc_hd__o21ai_2.add(gdstk.Label('SNDA1', (1.667,2.61), layer=68, texttype=20))
sky130_fd_sc_hd__o21ai_2.add(gdstk.Label('SNDA1', (1.552,2.61), layer=68, texttype=20))
sky130_fd_sc_hd__o21ai_2.add(gdstk.Label('SNDA1', (1.437,2.61), layer=68, texttype=20))
sky130_fd_sc_hd__o21ai_2.add(gdstk.Label('SNDA1', (1.322,2.61), layer=68, texttype=20))
sky130_fd_sc_hd__o21ai_2.add(gdstk.Label('SNDA1', (1.207,2.61), layer=68, texttype=20))
sky130_fd_sc_hd__o21ai_2.add(gdstk.Label('SNDA1', (1.092,2.61), layer=68, texttype=20))
sky130_fd_sc_hd__o21ai_2.add(gdstk.Label('Y', (2.127,2.235), layer=68, texttype=20))
sky130_fd_sc_hd__o21ai_2.add(gdstk.Label('Y', (2.012,2.235), layer=68, texttype=20))
sky130_fd_sc_hd__o21ai_2.add(gdstk.Label('Y', (1.897,2.235), layer=68, texttype=20))
sky130_fd_sc_hd__o21ai_2.add(gdstk.Label('Y', (1.782,2.235), layer=68, texttype=20))
sky130_fd_sc_hd__o21ai_2.add(gdstk.Label('VPWR', (2.415,3.33), layer=68, texttype=20))
sky130_fd_sc_hd__o21ai_2.add(gdstk.Label('Y', (1.725,2.235), layer=68, texttype=20))
sky130_fd_sc_hd__o21ai_2.add(gdstk.Label('SNDA1', (2.415,2.61), layer=68, texttype=20))
sky130_fd_sc_hd__o21ai_2.add(gdstk.Label('SNDA1', (1.035,2.61), layer=68, texttype=20))
sky130_fd_sc_hd__o21ai_2.add(gdstk.Label('VPWR', (2.415,3.33), layer=68, texttype=20))
sky130_fd_sc_hd__o21ai_2.add(gdstk.Label('Y', (2.357,2.235), layer=68, texttype=20))
sky130_fd_sc_hd__o21ai_2.add(gdstk.Label('PNDA', (1.322,0.585), layer=68, texttype=20))
sky130_fd_sc_hd__o21ai_2.add(gdstk.Label('PNDA', (1.207,0.585), layer=68, texttype=20))
sky130_fd_sc_hd__o21ai_2.add(gdstk.Label('PNDA', (1.092,0.585), layer=68, texttype=20))
sky130_fd_sc_hd__o21ai_2.add(gdstk.Label('PNDA', (0.977,0.585), layer=68, texttype=20))
sky130_fd_sc_hd__o21ai_2.add(gdstk.Label('PNDA', (0.862,0.585), layer=68, texttype=20))
sky130_fd_sc_hd__o21ai_2.add(gdstk.Label('PNDA', (0.747,0.585), layer=68, texttype=20))
sky130_fd_sc_hd__o21ai_2.add(gdstk.Label('PNDA', (0.632,0.585), layer=68, texttype=20))
sky130_fd_sc_hd__o21ai_2.add(gdstk.Label('PNDA', (0.517,0.585), layer=68, texttype=20))
sky130_fd_sc_hd__o21ai_2.add(gdstk.Label('PNDA', (0.402,0.585), layer=68, texttype=20))
sky130_fd_sc_hd__o21ai_2.add(gdstk.Label('PNDA', (1.897,0.585), layer=68, texttype=20))
sky130_fd_sc_hd__o21ai_2.add(gdstk.Label('PNDA', (2.012,0.585), layer=68, texttype=20))
sky130_fd_sc_hd__o21ai_2.add(gdstk.Label('A1', (0.747,1.26), layer=68, texttype=20))
sky130_fd_sc_hd__o21ai_2.add(gdstk.Label('A1', (0.862,1.26), layer=68, texttype=20))
sky130_fd_sc_hd__o21ai_2.add(gdstk.Label('A1', (0.977,1.26), layer=68, texttype=20))
sky130_fd_sc_hd__o21ai_2.add(gdstk.Label('A1', (1.092,1.26), layer=68, texttype=20))
sky130_fd_sc_hd__o21ai_2.add(gdstk.Label('A1', (1.207,1.26), layer=68, texttype=20))
sky130_fd_sc_hd__o21ai_2.add(gdstk.Label('A1', (1.322,1.26), layer=68, texttype=20))
sky130_fd_sc_hd__o21ai_2.add(gdstk.Label('A1', (1.437,1.26), layer=68, texttype=20))
sky130_fd_sc_hd__o21ai_2.add(gdstk.Label('A1', (1.552,1.26), layer=68, texttype=20))
sky130_fd_sc_hd__o21ai_2.add(gdstk.Label('A1', (1.667,1.26), layer=68, texttype=20))
sky130_fd_sc_hd__o21ai_2.add(gdstk.Label('A1', (1.782,1.26), layer=68, texttype=20))
sky130_fd_sc_hd__o21ai_2.add(gdstk.Label('A1', (1.897,1.26), layer=68, texttype=20))
sky130_fd_sc_hd__o21ai_2.add(gdstk.Label('A1', (2.012,1.26), layer=68, texttype=20))
sky130_fd_sc_hd__o21ai_2.add(gdstk.Label('A1', (2.127,1.26), layer=68, texttype=20))
sky130_fd_sc_hd__o21ai_2.add(gdstk.Label('A1', (2.242,1.26), layer=68, texttype=20))
sky130_fd_sc_hd__o21ai_2.add(gdstk.Label('PNDA', (2.127,0.585), layer=68, texttype=20))
sky130_fd_sc_hd__o21ai_2.add(gdstk.Label('PNDA', (2.242,0.585), layer=68, texttype=20))
sky130_fd_sc_hd__o21ai_2.add(gdstk.Label('PNDA', (1.782,0.585), layer=68, texttype=20))
sky130_fd_sc_hd__o21ai_2.add(gdstk.Label('PNDA', (1.667,0.585), layer=68, texttype=20))
sky130_fd_sc_hd__o21ai_2.add(gdstk.Label('VGND', (1.035,0), layer=68, texttype=20))
sky130_fd_sc_hd__o21ai_2.add(gdstk.Label('PNDA', (1.725,0.585), layer=68, texttype=20))
sky130_fd_sc_hd__o21ai_2.add(gdstk.Label('PNDA', (0.345,0.585), layer=68, texttype=20))
sky130_fd_sc_hd__o21ai_2.add(gdstk.Label('VGND', (2.415,0), layer=68, texttype=20))
sky130_fd_sc_hd__o21ai_2.add(gdstk.Label('PNDA', (2.357,0.585), layer=68, texttype=20))
sky130_fd_sc_hd__o21ai_2.add(gdstk.Label('VGND', (2.415,0), layer=68, texttype=20))
sky130_fd_sc_hd__o21ai_2.add(gdstk.Label('A1', (2.357,1.26), layer=68, texttype=20))
sky130_fd_sc_hd__o21ai_2.add(gdstk.Label('PNDA', (1.552,0.585), layer=68, texttype=20))
sky130_fd_sc_hd__o21ai_2.add(gdstk.Label('A1', (0.69,1.26), layer=68, texttype=20))
sky130_fd_sc_hd__o21ai_2.add(gdstk.Label('PNDA', (1.437,0.585), layer=68, texttype=20))
sky130_fd_sc_hd__o21ai_2.add(gdstk.Label('PNDA', (2.702,0.585), layer=68, texttype=20))
sky130_fd_sc_hd__o21ai_2.add(gdstk.Label('PNDA', (2.817,0.585), layer=68, texttype=20))
sky130_fd_sc_hd__o21ai_2.add(gdstk.Label('PNDA', (2.932,0.585), layer=68, texttype=20))
sky130_fd_sc_hd__o21ai_2.add(gdstk.Label('PNDA', (3.047,0.585), layer=68, texttype=20))
sky130_fd_sc_hd__o21ai_2.add(gdstk.Label('PNDA', (3.277,0.585), layer=68, texttype=20))
sky130_fd_sc_hd__o21ai_2.add(gdstk.Label('PNDA', (3.335,0.517), layer=68, texttype=20))
sky130_fd_sc_hd__o21ai_2.add(gdstk.Label('PNDA', (3.335,0.437), layer=68, texttype=20))
sky130_fd_sc_hd__o21ai_2.add(gdstk.Label('PNDA', (3.335,0.405), layer=68, texttype=20))
sky130_fd_sc_hd__o21ai_2.add(gdstk.Label('PNDA', (3.392,0.385), layer=68, texttype=20))
sky130_fd_sc_hd__o21ai_2.add(gdstk.Label('PNDA', (3.507,0.385), layer=68, texttype=20))
sky130_fd_sc_hd__o21ai_2.add(gdstk.Label('PNDA', (3.622,0.385), layer=68, texttype=20))
sky130_fd_sc_hd__o21ai_2.add(gdstk.Label('PNDA', (3.737,0.385), layer=68, texttype=20))
sky130_fd_sc_hd__o21ai_2.add(gdstk.Label('PNDA', (3.852,0.385), layer=68, texttype=20))
sky130_fd_sc_hd__o21ai_2.add(gdstk.Label('PNDA', (3.967,0.385), layer=68, texttype=20))
sky130_fd_sc_hd__o21ai_2.add(gdstk.Label('PNDA', (4.082,0.385), layer=68, texttype=20))
sky130_fd_sc_hd__o21ai_2.add(gdstk.Label('PNDA', (4.197,0.385), layer=68, texttype=20))
sky130_fd_sc_hd__o21ai_2.add(gdstk.Label('PNDA', (4.312,0.385), layer=68, texttype=20))
sky130_fd_sc_hd__o21ai_2.add(gdstk.Label('PNDA', (4.427,0.385), layer=68, texttype=20))
sky130_fd_sc_hd__o21ai_2.add(gdstk.Label('PNDA', (4.485,0.405), layer=68, texttype=20))
sky130_fd_sc_hd__o21ai_2.add(gdstk.Label('PNDA', (4.485,0.437), layer=68, texttype=20))
sky130_fd_sc_hd__o21ai_2.add(gdstk.Label('PNDA', (4.485,0.517), layer=68, texttype=20))
sky130_fd_sc_hd__o21ai_2.add(gdstk.Label('A1', (2.587,1.26), layer=68, texttype=20))
sky130_fd_sc_hd__o21ai_2.add(gdstk.Label('A1', (2.702,1.26), layer=68, texttype=20))
sky130_fd_sc_hd__o21ai_2.add(gdstk.Label('A1', (2.76,1.327), layer=68, texttype=20))
sky130_fd_sc_hd__o21ai_2.add(gdstk.Label('A1', (2.76,1.462), layer=68, texttype=20))
sky130_fd_sc_hd__o21ai_2.add(gdstk.Label('Y', (3.795,0.8), layer=68, texttype=20))
sky130_fd_sc_hd__o21ai_2.add(gdstk.Label('Y', (3.795,0.922), layer=68, texttype=20))
sky130_fd_sc_hd__o21ai_2.add(gdstk.Label('A1', (2.76,1.597), layer=68, texttype=20))
sky130_fd_sc_hd__o21ai_2.add(gdstk.Label('Y', (3.795,1.597), layer=68, texttype=20))
sky130_fd_sc_hd__o21ai_2.add(gdstk.Label('PNDA', (3.105,0.585), layer=68, texttype=20))
sky130_fd_sc_hd__o21ai_2.add(gdstk.Label('PNDA', (2.472,0.585), layer=68, texttype=20))
sky130_fd_sc_hd__o21ai_2.add(gdstk.Label('PNDA', (4.485,0.585), layer=68, texttype=20))
sky130_fd_sc_hd__o21ai_2.add(gdstk.Label('Y', (3.795,0.745), layer=68, texttype=20))
sky130_fd_sc_hd__o21ai_2.add(gdstk.Label('A1', (2.472,1.26), layer=68, texttype=20))
sky130_fd_sc_hd__o21ai_2.add(gdstk.Label('Y', (3.795,1.057), layer=68, texttype=20))
sky130_fd_sc_hd__o21ai_2.add(gdstk.Label('Y', (3.795,1.192), layer=68, texttype=20))
sky130_fd_sc_hd__o21ai_2.add(gdstk.Label('Y', (3.795,1.327), layer=68, texttype=20))
sky130_fd_sc_hd__o21ai_2.add(gdstk.Label('Y', (3.795,1.462), layer=68, texttype=20))
sky130_fd_sc_hd__o21ai_2.add(gdstk.Label('PNDA', (3.162,0.585), layer=68, texttype=20))
sky130_fd_sc_hd__o21ai_2.add(gdstk.Label('A1', (2.76,1.26), layer=68, texttype=20))
sky130_fd_sc_hd__o21ai_2.add(gdstk.Label('PNDA', (2.587,0.585), layer=68, texttype=20))
sky130_fd_sc_hd__o21ai_2.add(gdstk.Label('VGND', (2.415,0), layer=68, texttype=5))
sky130_fd_sc_hd__o21ai_2.add(gdstk.Label('VPWR', (2.415,3.33), layer=68, texttype=5))

lib.write_gds('sky130_fd_sc_hd__o21ai_2.gds')
